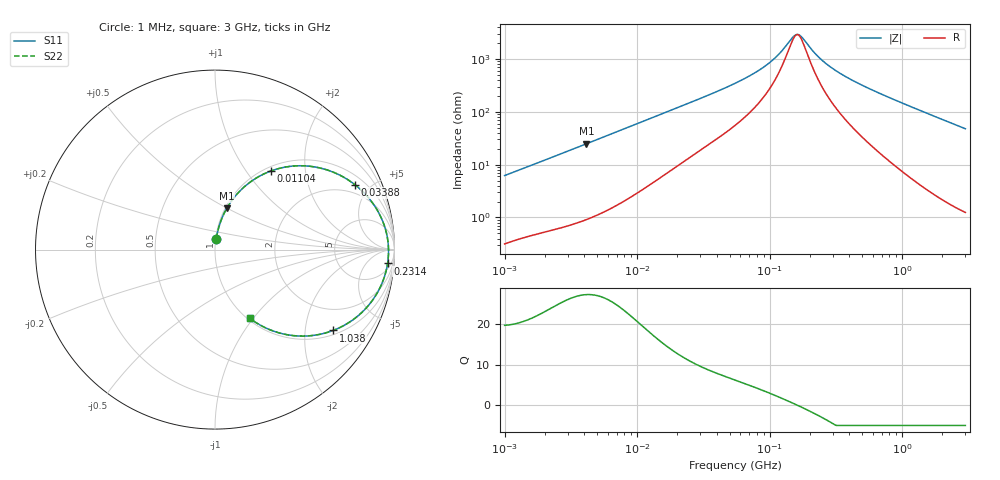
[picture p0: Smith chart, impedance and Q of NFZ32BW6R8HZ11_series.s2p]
! NFZ32BW6R8HZ11
# Hz S RI R 50
!Freq.(Hz) S11(Real) S11(Imag) S21(Real) S21(Imag) S12(Real) S12(Imag) S22(Real) S22(Imag)
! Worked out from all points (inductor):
!   401 points, 1 MHz to 3 GHz, reference 50 ohm
!   read as one part in series: L = 978 nH near 1.041 MHz
!   highest Q = 27.2 at 4.142 MHz (marker M1), where L = 954 nH
!   self-resonance near 161.4 MHz
!   S11 on the Smith chart (normalised r, x): 1 MHz: 1.01, +0.12; 11.04 MHz: 1.07, +1.32; 33.88 MHz: 1.46, +4.04; 231.4 MHz: 9, -21; 1.038 GHz: 1.14, -2.82; 3 GHz: 1.02, -0.96
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1000000  0.00695 0.0615  0.993 -0.0615  0.993 -0.0615  0.00695 0.0615
3823119  0.0571 0.2143  0.9429 -0.2143  0.9429 -0.2143  0.0571 0.2143
4141799  0.0655 0.2298  0.9345 -0.2298  0.9345 -0.2298  0.0655 0.2298
6831390  0.1526 0.3401  0.8474 -0.3401  0.8474 -0.3401  0.1526 0.3401
1.104425e7  0.3115 0.438  0.6885 -0.438  0.6885 -0.438  0.3115 0.438
1.461624e7  0.4353 0.4655  0.5647 -0.4655  0.5647 -0.4655  0.4353 0.4655
2.137957e7  0.6097 0.4484  0.3903 -0.4484  0.3903 -0.4484  0.6097 0.4484
3.387922e7  0.7802 0.3611  0.2198 -0.3611  0.2198 -0.3611  0.7802 0.3611
5.477226e7  0.8898 0.2427  0.1102 -0.2427  0.1102 -0.2427  0.8898 0.2427
7.544761e7  0.9313 0.1655  0.0687 -0.1655  0.0687 -0.1655  0.9313 0.1655
9.787053e7  0.9517 0.1065  0.0483 -0.1065  0.0483 -0.1065  0.9517 0.1065
1.171891e8  0.9603 0.0674  0.0397 -0.0674  0.0397 -0.0674  0.9603 0.0674
1.582265e8  0.9667 0.00416  0.0333 -0.00416  0.0333 -0.00416  0.9667 0.00416
1.748812e8  0.9669 -0.0169  0.0331 0.0169  0.0331 0.0169  0.9669 -0.0169
2.094008e8  0.9645 -0.0553  0.0355 0.0553  0.0355 0.0553  0.9645 -0.0553
2.314421e8  0.9617 -0.0771  0.0383 0.0771  0.0383 0.0771  0.9617 -0.0771
2.884452e8  0.9512 -0.1273  0.0488 0.1273  0.0488 0.1273  0.9512 -0.1273
3.817355e8  0.9268 -0.1964  0.0732 0.1964  0.0732 0.1964  0.9268 -0.1964
8.005644e8  0.7621 -0.3957  0.2379 0.3957  0.2379 0.3957  0.7621 -0.3957
1.038491e9  0.6582 -0.4505  0.3418 0.4505  0.3418 0.4505  0.6582 -0.4505
1.67892e9  0.4275 -0.4782  0.5725 0.4782  0.5725 0.4782  0.4275 -0.4782
3e9  0.1924 -0.3814  0.8076 0.3814  0.8076 0.3814  0.1924 -0.3814
